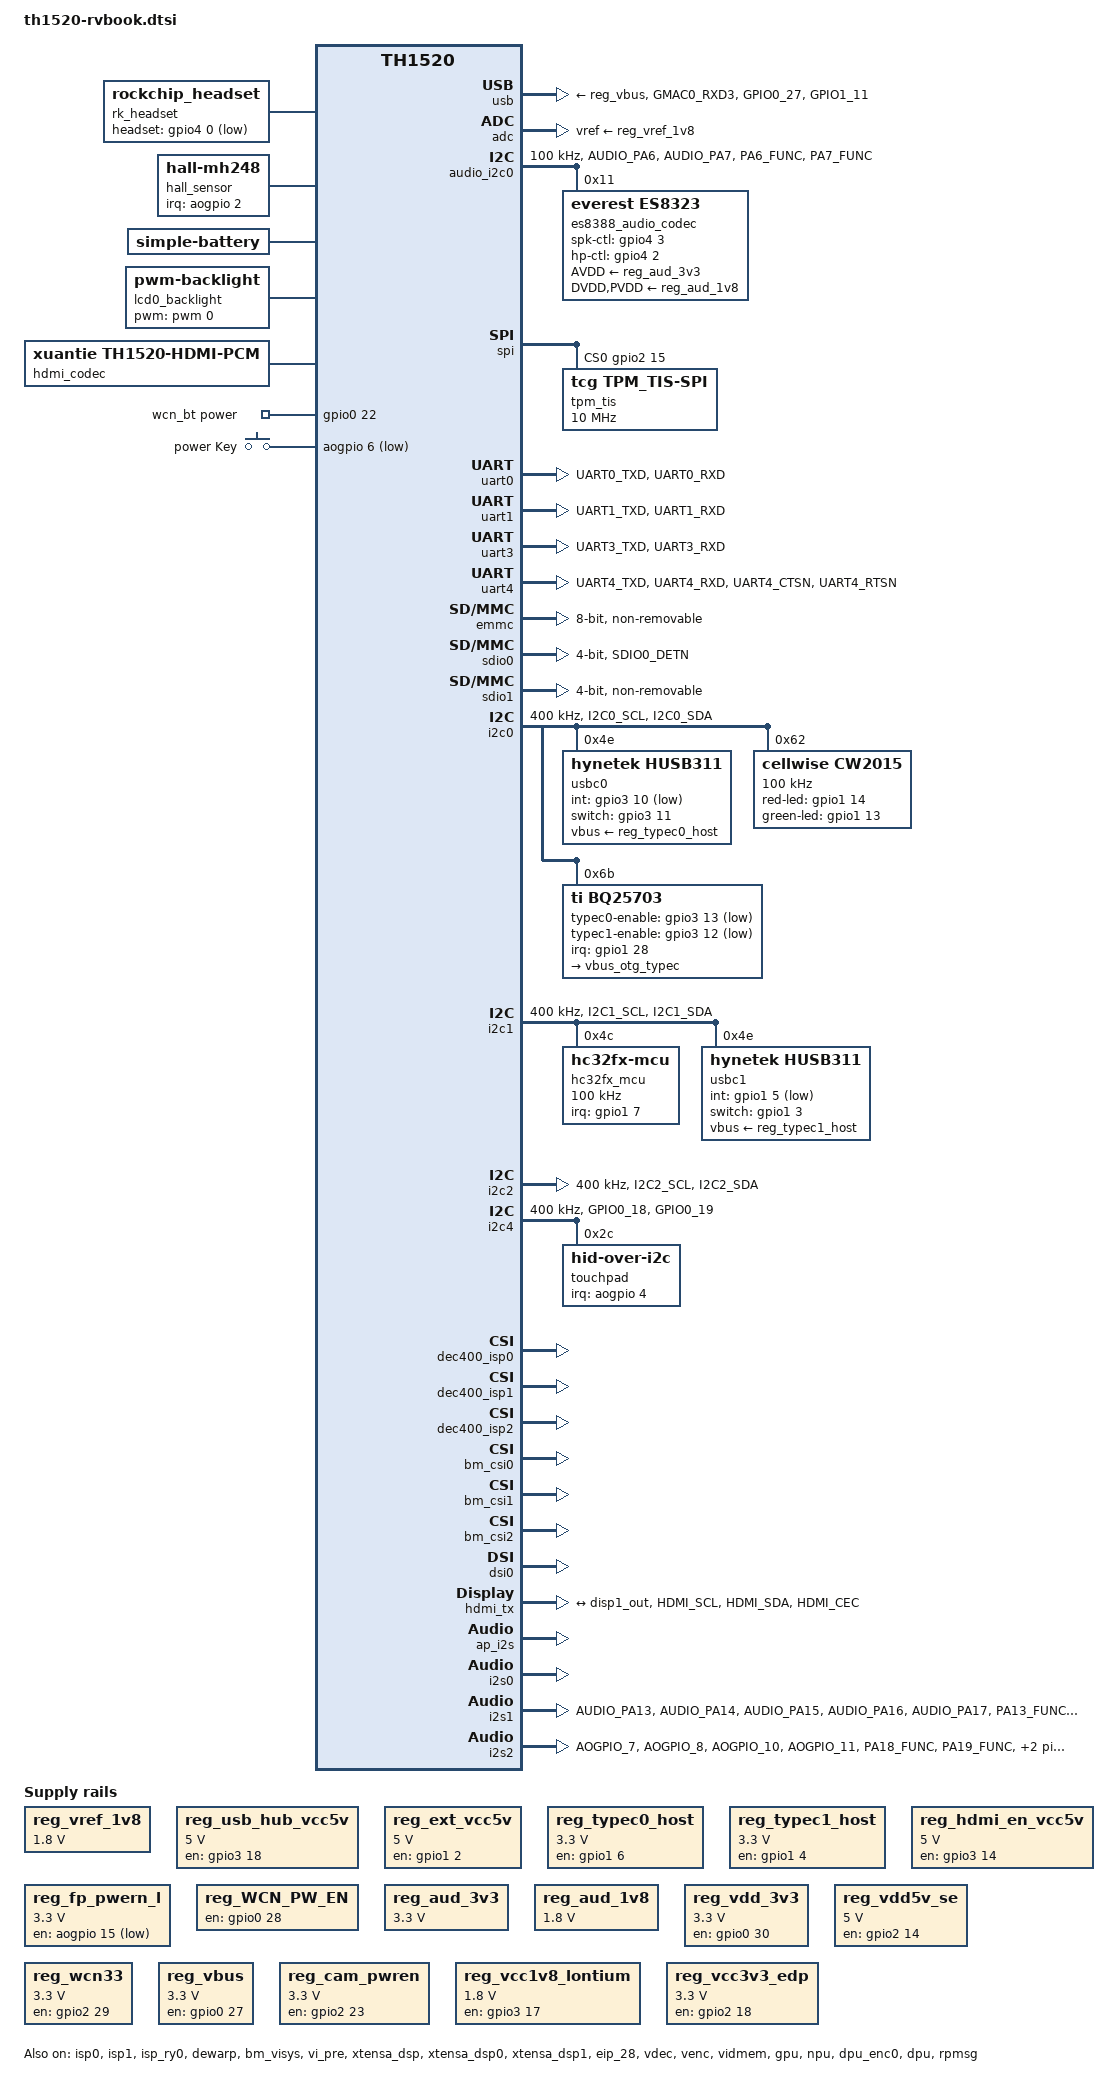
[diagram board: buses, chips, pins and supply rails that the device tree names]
/* SPDX-License-Identifier: GPL-2.0 */
/*
 * Copyright (C) 2021 Alibaba Group Holding Limited.
 */

/dts-v1/;

#include "th1520.dtsi"
#include <dt-bindings/input/linux-event-codes.h>
#include <dt-bindings/gpio/gpio.h>
#include <dt-bindings/usb/pd.h>
#include <dt-bindings/interrupt-controller/irq.h>
/ {
	chosen {
		bootargs = "console=ttyS0,115200 crashkernel=256M-:128M earlycon clk_ignore_unused sram=0xffe0000000,0x180000";
		stdout-path = "serial0:115200n8";
	};

	rk_headset: rk-headset {
		status = "okay";
		compatible = "rockchip_headset";
		headset_gpio = <&gpio4 0 GPIO_ACTIVE_LOW>;
		pinctrl-names = "default";
		pinctrl-0 = <&headset_det_pins>;
		// io-channels = <&adc 1>;
	};

	hall_sensor: hall-mh248 {
		compatible = "hall-mh248";
		pinctrl-names = "default";
		pinctrl-0 = <&mh248_int_pins>;
		irq-gpio = <&aogpio 2 IRQ_TYPE_EDGE_BOTH>;
		hall-active = <1>;
		status = "okay";
	};

	battery: battery {
		compatible = "simple-battery";
		charge-full-design-microamp-hours = <4500000>;
	};

	usb_en: usb-en{
		compatible = "usb_en";
		host-en-gpio = <&gpio0 27 GPIO_ACTIVE_HIGH>;
		hub-en-gpio = <&gpio3 18 GPIO_ACTIVE_HIGH>;
		usb_sw-gpio= <&gpio1 11 GPIO_ACTIVE_LOW>;
		pinctrl-names = "default";
		pinctrl-0 = <&usbhub_en_pins &usb_host_en_pins &usb_sw_pins>;
		status = "disabled";
	};	

	leds {
		compatible = "gpio-leds";
		status = "disabled";
		led0 {
			label = "SYS_STATUS";
			gpios = <&gpio1 15 0>;	/* GPIO_ACTIVE_HIGH: 0 */
			default-state = "off";
		};
	};

	display-subsystem {
		status = "okay";
	};

	lcd0_backlight: pwm-backlight@0 {
		compatible = "pwm-backlight";
		pwms = <&pwm 0 5000000>;
		brightness-levels = <0 4 8 16 32 64 128 255>;
		default-brightness-level = <7>;
	};

	mbox_910t_client1: mbox_910t_client1 {
		compatible = "thead,light-mbox-client";
		mbox-names = "902";
		mboxes = <&mbox_910t 1 0>;
		status = "disabled";
	};


	mbox_910t_client2: mbox_910t_client2 {
		compatible = "thead,light-mbox-client";
		mbox-names = "906";
		mboxes = <&mbox_910t 2 0>;
		audio-mbox-regmap = <&audio_mbox>;
		status = "okay";
	};

	hdmi_codec: hdmi_codec@1 {
		#sound-dai-cells = <0>;
		compatible = "xuantie,th1520-hdmi-pcm";
		status = "okay";
		sound-name-prefix = "DUMMY";
	};

	th1520_sound: soundcard@1 {
		compatible = "simple-audio-card";
		simple-audio-card,name = "TH1520-Sound-Card";
		#address-cells = <1>;
		#size-cells = <0>;
	};

	th1520_rpmsg: th1520_rpmsg {
		compatible = "th1520,rpmsg-bus", "simple-bus";
		memory-region = <&rpmsgmem>;
		#address-cells = <2>;
		#size-cells = <2>;
		ranges;
		rpmsg: rpmsg{
			vdev-nums = <1>;
            reg = <0x0 0x1E000000 0 0x10000>;
			compatible = "th1520,th1520-rpmsg";
			log-memory-region = <&audio_log_mem>;
			status = "okay";
		};
	};

	fan: pwm-fan {
		compatible = "pwm-fan";
		#cooling-cells = <2>;
		pwms = <&pwm 1 10000000 0>;
		cooling-levels = <0 64 192 255>;
		status = "disabled";
	};

	reg_vref_1v8: regulator-adc-verf {
		compatible = "regulator-fixed";
		regulator-name = "vref-1v8";
		regulator-min-microvolt = <1800000>;
		regulator-max-microvolt = <1800000>;
		status = "okay";
	};

	reg_usb_hub_vcc5v: regulator-hub-vcc5v-en {
		compatible = "regulator-fixed";
		regulator-name = "regulator-hub-vcc5v-en";
		regulator-min-microvolt = <5000000>;
		regulator-max-microvolt = <5000000>;
		gpio = <&gpio3 18 GPIO_ACTIVE_HIGH>;
		enable-active-high;
		regulator-always-on;
	};

	reg_ext_vcc5v: regulator-ext5v-en {
		compatible = "regulator-fixed";
		regulator-name = "ext5v-en";
		regulator-min-microvolt = <5000000>;
		regulator-max-microvolt = <5000000>;
		gpio = <&gpio1 2 GPIO_ACTIVE_HIGH>;
		pinctrl-names = "default";
		pinctrl-0 = <&ext_vcc5v_en_pins>;
		enable-active-high;
		regulator-boot-on;
		regulator-always-on;
	};

	reg_typec0_host: regulator-typec0-host {
		compatible = "regulator-fixed";
		regulator-name = "typec0-host";
		regulator-min-microvolt = <3300000>;
		regulator-max-microvolt = <3300000>;
		gpio = <&gpio1 6 GPIO_ACTIVE_HIGH>;
		pinctrl-names = "default";
		pinctrl-0 = <&typec0_host_en_pins>;
		enable-active-high;
	};

	reg_typec1_host: regulator-typec1-host {
		compatible = "regulator-fixed";
		regulator-name = "typec1-host";
		regulator-min-microvolt = <3300000>;
		regulator-max-microvolt = <3300000>;
		gpio = <&gpio1 4 GPIO_ACTIVE_HIGH>;
		pinctrl-names = "default";
		pinctrl-0 = <&typec1_host_en_pins>;
		enable-active-high;
	};

	reg_hdmi_en_vcc5v: regulator-hdmi-en-en {
		compatible = "regulator-fixed";
		regulator-name = "hdmi-en5v-en";
		regulator-min-microvolt = <5000000>;
		regulator-max-microvolt = <5000000>;
		gpio = <&gpio3 14 GPIO_ACTIVE_HIGH>;
		pinctrl-names = "default";
		pinctrl-0 = <&hdmi_en_pins>;
		enable-active-high;
		regulator-boot-on;
		regulator-always-on;
	};

	reg_fp_pwern_l: regulator-fp-pwern-l {
		compatible = "regulator-fixed";
		regulator-name = "fp-pwern-l";
		regulator-min-microvolt = <3300000>;
		regulator-max-microvolt = <3300000>;
		gpio = <&aogpio 15 GPIO_ACTIVE_LOW>;
		pinctrl-names = "default";
		pinctrl-0 = <&fp_int_pins>;
		// enable-active-high;
		regulator-always-on;
	};

	reg_WCN_PW_EN: regulator-WCN-PW-EN {
		compatible = "regulator-fixed";
		regulator-name = "wcn-pw-en";
		gpio = <&gpio0 28 GPIO_ACTIVE_HIGH>;
		pinctrl-names = "default";
		pinctrl-0 = <&wifi_wake_pins>;
		enable-active-high;
		regulator-always-on;
		regulator-boot-on;
	};

	wcn_wifi: wireless-wlan {
		compatible = "wlan-platdata";
		clock-names = "clk_wifi";
		ref-clock-frequency = <24000000>;
		keep_wifi_power_on;
		// pinctrl-names = "default";
		// pinctrl-0 = <&pinctrl_wifi_wake>;
		wifi_chip_type = "rtl8822cs";
		// WIFI,poweren_gpio = <&gpio0 28 GPIO_ACTIVE_HIGH>;
		status = "okay";
	};

	wcn_bt: wireless-bluetooth {
		compatible = "bluetooth-platdata";
		pinctrl-names = "default", "rts_gpio";
		BT,power_gpio    = <&gpio0 22 GPIO_ACTIVE_HIGH>;
		status = "okay";
	};

	gpio-keys {
		compatible = "gpio-keys";
		pinctrl-names = "default";
		pinctrl-0 = <&volume_pins &powerkey_pins>;
		key-pw{
			label = "power Key";
			wakeup-source;
			linux,code = <KEY_POWER>;
			debounce-interval = <1>;
			gpios = <&aogpio 6 0x1>;
		};
	};

	reg_aud_3v3: regulator-aud-3v3 {
		compatible = "regulator-fixed";
		regulator-name = "aud_3v3";
		regulator-min-microvolt = <3300000>;
		regulator-max-microvolt = <3300000>;
		enable-active-high;
		regulator-always-on;
	};

	reg_aud_1v8: regulator-aud-1v8 {
		compatible = "regulator-fixed";
		regulator-name = "aud_1v8";
		regulator-min-microvolt = <1800000>;
		regulator-max-microvolt = <1800000>;
		enable-active-high;
		regulator-always-on;
	};

	reg_vdd_3v3: regulator-vdd-3v3 {
		compatible = "regulator-fixed";
		regulator-name = "vdd_3v3";
		regulator-min-microvolt = <3300000>;
		regulator-max-microvolt = <3300000>;
		gpio = <&gpio0 30 1>;
		enable-active-high;
		regulator-always-on;
	};

	reg_vdd5v_se: regulator-vdd5v-se {
		compatible = "regulator-fixed";
		regulator-name = "vdd5v_se_en";
		regulator-min-microvolt = <5000000>;
		regulator-max-microvolt = <5000000>;
		gpio = <&gpio2 14 1>;
		enable-active-high;
		regulator-always-on;
	};

	reg_wcn33: regulator-wcn33 {
		compatible = "regulator-fixed";
		regulator-name = "wcn33_en";
		regulator-min-microvolt = <3300000>;
		regulator-max-microvolt = <3300000>;
		gpio = <&gpio2 29 1>;
		enable-active-high;
		regulator-always-on;
	};

	reg_vbus: regulator-vbus-en {
		compatible = "regulator-fixed";
		regulator-name = "vbus_en";
		regulator-min-microvolt = <3300000>;
		regulator-max-microvolt = <3300000>;
		gpio = <&gpio0 27 GPIO_ACTIVE_HIGH>;
		enable-active-high;
		regulator-always-on;
	};

	reg_cam_pwren: regulator-cam-pwren {
		compatible = "regulator-fixed";
		regulator-name = "cam_pwren";
		regulator-boot-on;
		enable-active-high;
		regulator-always-on;
		regulator-min-microvolt = <3300000>;
		regulator-max-microvolt = <3300000>;
		gpio = <&gpio2 23 GPIO_ACTIVE_HIGH>;
		pinctrl-names = "default";
		pinctrl-0 = <&camera_pwr_pins>;
	};

	reg_vcc1v8_lontium: regulator-vcc1v8-lontium {
		compatible = "regulator-fixed";
		enable-active-high;
		regulator-min-microvolt = <1800000>;
		regulator-max-microvolt = <1800000>;
		gpio = <&gpio3 17 GPIO_ACTIVE_HIGH>;
		pinctrl-names = "default";
		pinctrl-0 = <&lontium_pwren_pins>;
		regulator-name = "vcc1v8-lontium";
	};

	reg_vcc3v3_edp: regulator-vcc3v3-edp {
		compatible = "regulator-fixed";
		enable-active-high;
		regulator-min-microvolt = <3300000>;
		regulator-max-microvolt = <3300000>;
		gpio = <&gpio2 18 GPIO_ACTIVE_HIGH>;
		pinctrl-names = "default";
		pinctrl-0 = <&edp_pwren_pins>;
		regulator-name = "vcc3v3-edp";
	};

	thermal-zones {
		cpu-thermal {
			polling-delay = <1000>;
			polling-delay-passive = <1000>;
			thermal-sensors = <&pvt 0>;

			trips {
				trip_active0: active-0 {
					temperature = <39000>;
					hysteresis = <5000>;
					type = "active";
				};

				trip_active1: active-1 {
					temperature = <50000>;
					hysteresis = <5000>;
					type = "active";
				};

				trip_active2: active-2 {
					temperature = <60000>;
					hysteresis = <5000>;
					type = "active";
				};
			};

			cooling-maps {
				map-active-0 {
					cooling-device = <&fan 1 1>;
					trip = <&trip_active0>;
				};

				map-active-1 {
					cooling-device = <&fan 2 2>;
					trip = <&trip_active1>;
				};

				map-active-2 {
					cooling-device = <&fan 3 3>;
					trip = <&trip_active2>;
				};
			};
		};
	};

};

&usb {
	status = "okay";
};

&resmem {
	#address-cells = <2>;
	#size-cells = <2>;
	ranges;
	//Note: with "no-map" reserv mem not saved in hibernation

	/* global autoconfigured region for contiguous allocations */
	cmamem: linux,cma {
		compatible = "shared-dma-pool";
		reusable;
		size = <0 0x20000000>; // 512MB on lpi4a (SOM)
		alloc-ranges = <0 0xd8000000 0 0x20000000>; // [0x0D800_0000 ~ 0x0F800_0000]            linux,cma-default;
		linux,cma-default;
	};

	tee_mem: memory@1c000000 {
		reg = <0x0 0x1c000000 0 0x2000000>;
		no-map;
	};

	dsp0_mem: memory@20000000 {             /**0x2000_0000~0x2040_0000 4M**/
		reg = <0x0 0x20000000 0x0 0x00280000   /* DSP FW code&data section 2.5M*/ 
               0x0 0x20280000 0x0 0x00001000   /* DSP communication area 4K*/ 
               0x0 0x20281000 0x0 0x00007000  /* Panic/log page 28K */
               0x0 0x20288000 0x0 0x00178000>;  /* DSP shared memory 1.5M-32K*/
	};
    dsp1_mem: memory@20400000 {             /**0x2040_0000~0x2080_0000 4M**/
        reg = <0x0 0x20400000 0x0 0x00280000  /* DSP FW code&data section */ 
               0x0 0x20680000 0x0 0x00001000 /* DSP communication area */
               0x0 0x20681000 0x0 0x00007000    /* Panic/log page*/ 
               0x0 0x20688000 0x0 0x00178000>;  /* DSP shared memory */
    };
	vi_mem: framebuffer@10000000 {
		reg = <0x0 0x10000000 0x0 0x6700000>;	/* vi_mem_pool_region[0]  44 MB (default) */
		       //0x0 0x12C00000 0x0 0x01D00000	/* vi_mem_pool_region[1]  29 MB */
		       //0x0 0x14900000 0x0 0x01E00000>;	/* vi_mem_pool_region[2]  30 MB */
		no-map;
	};
	rpmsgmem: memory@1E000000 {
		reg = <0x0 0x1E000000 0x0 0x10000>;
	};
	audio_mem: memory@32000000 {
		reg = <0x0 0x32000000 0x0 0x6400000>;
    };
	audio_log_mem: memory@33400000 {
		reg = <0x0 0x33400000 0x0 0x200000>;
	};
	aon_log_mem: memory@33600000 {
		reg = <0x0 0x33600000 0x0 0x200000>;
	};
};

&aon {
	dvdd_cpu_reg: appcpu_dvdd {
		compatible = "thead,th1520-aon-pmic";
		regulator-name = "appcpu_dvdd";
		regulator-min-microvolt = <300000>;
		regulator-max-microvolt = <1570000>;
		regulator-type = "dvdd";
		regulator-boot-on;
		regulator-always-on;
	};

	dvddm_cpu_reg: appcpu_dvddm {
		compatible = "thead,th1520-aon-pmic";
		regulator-name = "appcpu_dvddm";
		regulator-min-microvolt = <300000>;
		regulator-max-microvolt = <1570000>;
		regulator-type = "dvddm";
		regulator-boot-on;
		regulator-always-on;
	};

	soc_dvdd18_aon_reg: soc_dvdd18_aon {
		compatible = "thead,th1520-aon-pmic";
		regulator-name = "soc_dvdd18_aon";
		regulator-type = "common";
		regulator-boot-on;
		regulator-always-on;
	};

	soc_avdd33_usb3_reg: soc_avdd33_usb3 {
		compatible = "thead,th1520-aon-pmic";
		regulator-name = "soc_avdd33_usb3";
		regulator-type = "common";
		regulator-boot-on;
		regulator-always-on;
	};

	soc_dvdd08_aon_reg: soc_dvdd08_aon {
		compatible = "thead,th1520-aon-pmic";
		regulator-name = "soc_dvdd08_aon";
		regulator-type = "common";
		regulator-boot-on;
		regulator-always-on;
	};

	soc_dvdd08_ddr_reg: soc_dvdd08_ddr {
		compatible = "thead,th1520-aon-pmic";
		regulator-name = "soc_dvdd08_ddr";
		regulator-type = "common";
		regulator-boot-on;
		regulator-always-on;
	};

	soc_vdd_ddr_1v8_reg: soc_vdd_ddr_1v8 {
		compatible = "thead,th1520-aon-pmic";
		regulator-name = "soc_vdd_ddr_1v8";
		regulator-type = "common";
		regulator-boot-on;
		regulator-always-on;
	};

	soc_vdd_ddr_1v1_reg: soc_vdd_ddr_1v1 {
		compatible = "thead,th1520-aon-pmic";
		regulator-name = "soc_vdd_ddr_1v1";
		regulator-type = "common";
		regulator-boot-on;
		regulator-always-on;
	};

	soc_vdd_ddr_0v6_reg: soc_vdd_ddr_0v6 {
		compatible = "thead,th1520-aon-pmic";
		regulator-name = "soc_vdd_ddr_0v6";
		regulator-type = "common";
		regulator-boot-on;
		regulator-always-on;
	};

	soc_dvdd18_ap_reg: soc_dvdd18_ap {
		compatible = "thead,th1520-aon-pmic";
		regulator-name = "soc_dvdd18_ap";
		regulator-type = "common";
		regulator-boot-on;
		regulator-always-on;
	};

	soc_dvdd08_ap_reg: soc_dvdd08_ap {
		compatible = "thead,th1520-aon-pmic";
		regulator-name = "soc_dvdd08_ap";
		regulator-type = "common";
		regulator-boot-on;
		regulator-always-on;
	};

	soc_avdd08_mipi_hdmi_reg: soc_avdd08_mipi_hdmi {
		compatible = "thead,th1520-aon-pmic";
		regulator-name = "soc_avdd08_mipi_hdmi";
		regulator-type = "common";
		regulator-boot-on;
		regulator-always-on;
	};

	soc_avdd18_mipi_hdmi_reg: soc_avdd18_mipi_hdmi {
		compatible = "thead,th1520-aon-pmic";
		regulator-name = "soc_avdd18_mipi_hdmi";
		regulator-type = "common";
		regulator-boot-on;
		regulator-always-on;
	};

	soc_vdd33_emmc_reg: soc_vdd33_emmc {
		compatible = "thead,th1520-aon-pmic";
		regulator-name = "soc_vdd33_emmc";
		regulator-type = "common";
		regulator-boot-on;
		regulator-always-on;
	};

	soc_vdd18_emmc_reg: soc_vdd18_emmc {
		compatible = "thead,th1520-aon-pmic";
		regulator-name = "soc_vdd18_emmc";
		regulator-type = "gpio";
		regulator-boot-on;
		regulator-always-on;
	};

	soc_dovdd18_scan_reg: soc_dovdd18_scan {
		compatible = "thead,th1520-aon-pmic";
		regulator-name = "soc_dovdd18_scan";
		regulator-type = "common";
		regulator-min-microvolt = <900000>;
		regulator-max-microvolt = <3600000>;
	};

	soc_dvdd12_scan_reg: soc_dvdd12_scan {
		compatible = "thead,th1520-aon-pmic";
		regulator-name = "soc_dvdd12_scan";
		regulator-type = "common";
		regulator-min-microvolt = <900000>;
		regulator-max-microvolt = <3600000>;
	};

	soc_avdd28_scan_en_reg: soc_avdd28_scan_en {
		compatible = "thead,th1520-aon-pmic";
		regulator-name = "soc_avdd28_scan_en";
		regulator-type = "common";
		regulator-min-microvolt = <900000>;
		regulator-max-microvolt = <3600000>;
	};
};

&adc {
	vref-supply = <&reg_vref_1v8>;
    #io-channel-cells = <1>;
	status = "okay";
};

&audio_i2c0 {
	clock-frequency = <100000>;
	status = "okay";
	pinctrl-names = "default";
	pinctrl-0 = <&aud_i2c0_pa_pins>,
				<&aud_i2c0_pins>;

	es8388_audio_codec: es8388@11 {
		#sound-dai-cells = <0>;
		compatible = "everest,es8323";
		reg = <0x11>;
		sound-name-prefix = "ES8388";
                headset-detect = <&rk_headset>;
		AVDD-supply = <&reg_aud_3v3>;
		DVDD-supply = <&reg_aud_1v8>;
		PVDD-supply = <&reg_aud_1v8>;
		spk-ctl-gpios = <&gpio4 3 GPIO_ACTIVE_HIGH>;
		hp-ctl-gpios = <&gpio4 2 GPIO_ACTIVE_HIGH>;
		pinctrl-names = "default";
		pinctrl-0 = <&pa_en_pins &hp_ctl_pins>;
	};
};

&spi {
	num-cs = <1>;
	cs-gpios = <&gpio2 15 0>; // GPIO_ACTIVE_HIGH: 0
	rx-sample-delay-ns = <10>;

	spi_norflash@0 {
		status = "disable";
		#address-cells = <1>;
		#size-cells = <1>;
		compatible = "winbond,w25q64jwm", "jedec,spi-nor";
		reg = <0>;
		spi-max-frequency = <50000000>;
		w25q,fast-read;
	};

	tpm_tis@0 {
		status = "okay";
		compatible = "tcg,tpm_tis-spi";
		reg = <0>;
		spi-max-frequency = <10000000>;
	};

	spidev@1 {
		status = "disable";
		compatible = "spidev";
		#address-cells = <0x1>;
		#size-cells = <0x1>;
		reg = <0x1>;
		spi-max-frequency = <50000000>;
	};
};

&uart0 {
	clock-frequency = <100000000>;
	pinctrl-names = "default";
	pinctrl-0 = <&uart0_pins>;
};

&uart1 {
	pinctrl-names = "default";
	pinctrl-0 = <&uart1_pins>;
};

&uart3 {
	pinctrl-names = "default";
	pinctrl-0 = <&uart3_pins>;
};

&uart4 {
	pinctrl-names = "default";
	pinctrl-0 = <&uart4_pins>;
};

&qspi0 {
	num-cs = <1>;
	cs-gpios = <&gpio2 3 0>;
	rx-sample-dly = <4>;
	status = "disabled";

	spi-flash@0 {
		#address-cells = <1>;
		#size-cells = <1>;
		compatible = "spi-nand";
		spi-max-frequency = <100000000>;
		spi-tx-bus-width = <4>;
		spi-rx-bus-width = <4>;
		reg = <0>;

		partition@0 {
			label = "ubi1";
			reg = <0x00000000 0x08000000>;
		};
	};
};

&gmac0 {
	phy-mode = "rgmii-id";
	rx-clk-delay = <0x00>; /* for RGMII */
	tx-clk-delay = <0x00>; /* for RGMII */
	phy-handle = <&phy_88E1111_0>;
	status = "disabled";

	mdio0 {
		#address-cells = <1>;
		#size-cells = <0>;
		compatible = "snps,dwmac-mdio";

		phy_88E1111_0: ethernet-phy@0 {
			reg = <0x1>;
		};

		phy_88E1111_1: ethernet-phy@1 {
			reg = <0x2>;
		};
	};
};

&gmac1 {
	phy-mode = "rgmii-id";
	rx-clk-delay = <0x00>; /* for RGMII */
	tx-clk-delay = <0x00>; /* for RGMII */
	phy-handle = <&phy_88E1111_1>;
	status = "disabled";
};

&emmc {
	max-frequency = <198000000>;
	non-removable;
	mmc-hs400-1_8v;
	io_fixed_1v8;
	is_emmc;
	no-sdio;
	no-sd;
	pull_up;
	bus-width = <8>;
	status = "okay";
};

&sdio0 {
	max-frequency = <198000000>;
	bus-width = <4>;
	pull_up;
	wprtn_ignore;
	status = "okay";
	pinctrl-names = "default";
	pinctrl-0 = <&sdio0_pins>;
};

&sdio1 {
	max-frequency = <198000000>;
	bus-width = <4>;
	pull_up;
	no-sd;
	no-mmc;
	non-removable;
	io_fixed_1v8;
	post-power-on-delay-ms = <50>;
	wprtn_ignore;
	sd-uhs-sdr104;
	cap-sd-highspeed;
	wakeup-source;
	status = "okay";
};

&padctrl0_apsys {
	camera_pwr_pins: camera-pwr-0 {
		camera-pwr-pins {
			pins = "GPIO2_23";
			function = "gpio";
			bias-pull-up;
			drive-strength = <25>;
			input-enable;
			input-schmitt-disable;
			slew-rate = <0>;
		};
	};

	switch0_pins: switch0-0 {
		gpio-pins {
			pins = "GMAC0_TXD1";
			function = "gpio";
			bias-disabled;
			drive-strength = <13>;
			input-enable;
			input-schmitt-disable;
			slew-rate = <0>;
		};
	};

	fingerprint_int_pins: fingerprint-int-0 {
		fingerprint-pins {
			pins = "GMAC0_CRS";
			function = "gpio";
			bias-disabled;
			drive-strength = <16>;
			input-enable;
			input-schmitt-disable;
			slew-rate = <0>;
		};
	};

	i2c2_pins: i2c2-0 {
		i2c-pins {
			pins = "I2C2_SCL", "I2C2_SDA";
			function = "i2c";
			bias-disable;
			drive-strength = <7>;
			input-enable;
			input-schmitt-disable;
			slew-rate = <0>;
		};
	};

	i2c3_pins: i2c3-0 {
		i2c-pins {
			pins = "I2C3_SCL", "I2C3_SDA";
			function = "i2c";
			bias-disable;
			drive-strength = <7>;
			input-enable;
			input-schmitt-disable;
			slew-rate = <0>;
		};
	};

	usbc0_int_pins: usbc0-int-0 {
		usb-pins {
			pins = "GMAC0_TXD0";
			function = "gpio";
			bias-pull-up;
			drive-strength = <25>;
			input-enable;
			input-schmitt-disable;
			slew-rate = <0>;
		};
	};

	uart0_pins: uart0-0 {
		tx-pins {
			pins = "UART0_TXD";
			function = "uart";
			bias-disable;
			drive-strength = <3>;
			input-enable;
			input-schmitt-disable;
			slew-rate = <0>;
		};

		rx-pins {
			pins = "UART0_RXD";
			function = "uart";
			bias-disable;
			drive-strength = <3>;
			input-enable;
			input-schmitt-disable;
			slew-rate = <0>;
		};
	};

	spi0_pins: spi0-0 {
		clk-pins {
			pins = "SPI_SCLK";
			function = "spi";
			bias-disable;
			drive-strength = <16>;
			input-enable;
			input-schmitt-enable;
			slew-rate = <0>;
		};
		data-pins {
			pins = "SPI_MOSI", "SPI_MISO";
			function = "spi";
			bias-pull-up;
			drive-strength = <16>;
			input-enable;
			input-schmitt-enable;
			slew-rate = <0>;
		};
	};

	qspi0_pins: qspi0-0 {
		clk-pins {
			pins = "QSPI0_SCLK";
			function = "qspi";
			bias-disable;
			drive-strength = <25>;
			input-enable;
			input-schmitt-disable;
			slew-rate = <0>;
		};
		data-pins {
			pins = "QSPI0_D0_MOSI", "QSPI0_D1_MISO", "QSPI0_D2_WP", "QSPI0_D3_HOLD";
			function = "qspi";
			bias-pull-up;
			drive-strength = <25>;
			input-enable;
			input-schmitt-enable;
			slew-rate = <0>;
		};
	};

	usbhub_en_pins: usbhub-en-0 {
		usb-pins {
			pins = "GMAC0_RXD3";
			function = "gpio";
			bias-disable;
			drive-strength = <13>;
			input-enable;
			input-schmitt-disable;
			slew-rate = <0>;
		};
	};

	hdmi_en_pins: hdmi-en-0 {
		hdmi-pins {
			pins = "GMAC0_RXDV";
			function = "gpio";
			bias-disable;
			drive-strength = <13>;
			input-enable;
			input-schmitt-disable;
			slew-rate = <0>;
		};
	};

	typec0_en_pins: typec0-en-0 {
		usb-pins {
			pins = "GMAC0_TXD3";
			function = "gpio";
			bias-disable;
			drive-strength = <13>;
			input-enable;
			input-schmitt-disable;
			slew-rate = <0>;
		};
	};

	typec1_en_pins: typec1-en-0 {
		usb-pins {
			pins = "GMAC0_TXD2";
			function = "gpio";
			bias-disable;
			drive-strength = <13>;
			input-enable;
			input-schmitt-disable;
			slew-rate = <0>;
		};
	};

	sdio0_pins: sdio0-0 {
		sdio-pins {
			pins = "SDIO0_DETN";
			function = "sdio";
			bias-disable;
			drive-strength = <1>;
			input-enable;
			input-schmitt-disable;
			slew-rate = <0>;
		};
	};

	hdmi_pins: hdmi-0 {
		hdmi-pins {
			pins = "HDMI_SCL", "HDMI_SDA", "HDMI_CEC";
			function = "hdmi";
			bias-disable;
			drive-strength = <1>;
			input-enable;
			input-schmitt-disable;
			slew-rate = <0>;
		};
	};

	lt8911exb_pins: lt8911exb-0 {
		gpio-pins {
			pins = "GPIO2_2", "GMAC0_RXD1", "GMAC0_RXD0";
			function = "gpio";
			bias-disable;
			drive-strength = <13>;
			input-enable;
			input-schmitt-disable;
			slew-rate = <0>;
		};
	};

	lontium_pwren_pins: lontium-pwren-0 {
		gpio-pins {
			pins = "GMAC0_RXD2";
			function = "gpio";
			bias-disable;
			drive-strength = <13>;
			input-enable;
			input-schmitt-disable;
			slew-rate = <0>;
		};
	};

	edp_pwren_pins: edp-pwren-0 {
		gpio-pins {
			pins = "GPIO2_18";
			function = "gpio";
			bias-disable;
			drive-strength = <13>;
			input-enable;
			input-schmitt-disable;
			slew-rate = <0>;
		};
	};

	dsi_reset_pins: dsi-reset-0 {
		gpio-pins {
			pins = "GPIO2_22";
			function = "gpio";
			bias-disable;
			drive-strength = <1>;
			input-disable;
			input-schmitt-disable;
			slew-rate = <0>;
		};
	};
};

&padctrl1_apsys {
	i2c0_pins: i2c0-0 {
		i2c-pins {
			pins = "I2C0_SCL", "I2C0_SDA";
			function = "i2c";
			bias-disable;
			drive-strength = <7>;
			input-enable;
			input-schmitt-enable;
			slew-rate = <0>;
		};
	};

	i2c1_pins: i2c1-0 {
		i2c-pins {
			pins = "I2C1_SCL", "I2C1_SDA";
			function = "i2c";
			bias-disable;
			drive-strength = <7>;
			input-enable;
			input-schmitt-enable;
			slew-rate = <0>;
		};
	};

	i2c4_pins: i2c4-0 {
		i2c-pins {
			pins = "GPIO0_18", "GPIO0_19";
			function = "i2c";
			bias-disable;
			drive-strength = <7>;
			input-enable;
			input-schmitt-enable;
			slew-rate = <0>;
		};
	};

	usbc1_int_pins: usbc1-int-0 {
		usb-pins {
			pins = "GPIO1_5";
			function = "gpio";
			bias-pull-up;
			drive-strength = <25>;
			input-enable;
			input-schmitt-enable;
			slew-rate = <0>;
		};
	};

	switch1_pins: switch1-0 {
		gpio-pins {
			pins = "GPIO1_3";
			function = "gpio";
			bias-disabled;
			drive-strength = <13>;
			input-enable;
			input-schmitt-disable;
			slew-rate = <0>;
		};
	};

	hc32fx_int_pins: hc32fx-int-0 {
		gpio-pins {
			pins = "GPIO1_7";
			function = "gpio";
			bias-pull-up;
			drive-strength = <25>;
			input-enable;
			input-schmitt-enable;
			slew-rate = <0>;
		};
	};

	redled_pins: redled-0 {
		gpio-pins {
			pins = "GPIO1_14";
			function = "gpio";
			bias-disabled;
			drive-strength = <13>;
			input-enable;
			input-schmitt-disable;
			slew-rate = <0>;
		};
	};

	greenled_pins: greenled-0 {
		gpio-pins {
			pins = "GPIO1_13";
			function = "gpio";
			bias-disabled;
			drive-strength = <13>;
			input-enable;
			input-schmitt-disable;
			slew-rate = <0>;
		};
	};

	charger_ok_pins: charger-ok-0 {
		gpio-pins {
			pins = "GPIO1_28";
			function = "gpio";
			bias-disabled;
			drive-strength = <13>;
			input-enable;
			input-schmitt-disable;
			slew-rate = <0>;
		};
	};

	uart1_pins: uart1-0 {
		tx-pins {
			pins = "UART1_TXD";
			function = "uart";
			bias-disable;
			drive-strength = <3>;
			input-disable;
			input-schmitt-disable;
			slew-rate = <0>;
		};

		rx-pins {
			pins = "UART1_RXD";
			function = "uart";
			bias-disable;
			drive-strength = <1>;
			input-enable;
			input-schmitt-enable;
			slew-rate = <0>;
		};
	};

	uart3_pins: uart3-0 {
		tx-pins {
			pins = "UART3_TXD";
			function = "uart";
			bias-disable;
			drive-strength = <3>;
			input-disable;
			input-schmitt-disable;
			slew-rate = <0>;
		};

		rx-pins {
			pins = "UART3_RXD";
			function = "uart";
			bias-disable;
			drive-strength = <1>;
			input-enable;
			input-schmitt-enable;
			slew-rate = <0>;
		};
	};

	uart4_pins: uart4-0 {
		tx-pins {
			pins = "UART4_TXD";
			function = "uart";
			bias-disable;
			drive-strength = <3>;
			input-disable;
			input-schmitt-disable;
			slew-rate = <0>;
		};

		rx-pins {
			pins = "UART4_RXD";
			function = "uart";
			bias-disable;
			drive-strength = <1>;
			input-enable;
			input-schmitt-enable;
			slew-rate = <0>;
		};
		ctrl-pins {
			pins = "UART4_CTSN", "UART4_RTSN";
			function = "uart";
			bias-disable;
			drive-strength = <3>;
			input-enable;
			input-schmitt-disable;
			slew-rate = <0>;
		};
	};

	wifi_wake_pins: wifi-wake-0 {
		wifi-pins {
			pins = "GPIO0_28";
			function = "gpio";
			bias-disable;
			drive-strength = <7>;
			input-disable;
			input-schmitt-disable;
			slew-rate = <0>;
		};
	};

	bt_wake_pins: bt-wake-0 {
		bt-pins {
			pins = "GPIO0_28";
			function = "gpio";
			bias-disable;
			drive-strength = <7>;
			input-disable;
			input-schmitt-disable;
			slew-rate = <0>;
		};
	};

	qspi1_pins: qspi1-0 {
		clk-pins {
			pins = "QSPI1_SCLK";
			function = "qspi";
			bias-disable;
			drive-strength = <16>;
			input-enable;
			input-schmitt-disable;
			slew-rate = <0>;
		};
		data-pins {
			pins = "QSPI1_D0_MOSI", "QSPI1_D1_MISO";
			function = "qspi";
			bias-pull-up;
			drive-strength = <16>;
			input-enable;
			input-schmitt-disable;
			slew-rate = <0>;
		};
	};

	volume_pins: volume-0 {
		volume-pins {
			pins = "CLK_OUT_2";
			function = "gpio";
			bias-disable;
			drive-strength = <13>;
			input-enable;
			input-schmitt-disable;
			slew-rate = <0>;
		};
	};

	usb_sw_pins: usb-sw-0 {
		usb-pins {
			pins = "GPIO1_11";
			function = "gpio";
			bias-disable;
			drive-strength = <13>;
			input-enable;
			input-schmitt-disable;
			slew-rate = <0>;
		};
	};

	usb_host_en_pins: usb-host-en-0 {
		usb-pins {
			pins = "GPIO0_27";
			function = "gpio";
			bias-pull-up;
			drive-strength = <13>;
			input-enable;
			input-schmitt-disable;
			slew-rate = <0>;
		};
	};

	ext_vcc5v_en_pins: ext-vcc5v-en-0 {
		gpio-pins {
			pins = "GPIO1_2";
			function = "gpio";
			bias-disable;
			drive-strength = <13>;
			input-enable;
			input-schmitt-disable;
			slew-rate = <0>;
		};
	};

	typec0_host_en_pins: typec0-host-en-0 {
		usb-pins {
			pins = "GPIO1_6";
			function = "gpio";
			bias-disable;
			drive-strength = <13>;
			input-enable;
			input-schmitt-disable;
			slew-rate = <0>;
		};
	};

	typec1_host_en_pins: typec1-host-en-0 {
		usb-pins {
			pins = "GPIO1_4";
			function = "gpio";
			bias-disable;
			drive-strength = <13>;
			input-enable;
			input-schmitt-disable;
			slew-rate = <0>;
		};
	};
};

&padctrl_aosys {
	headset_det_pins: headset-det-0 {
		headset-pins {
			pins = "AUDIO_PA0";
			function = "gpio";
			bias-pull-up;
			drive-strength = <25>;
			input-enable;
			input-schmitt-disable;
			slew-rate = <0>;
		};
	};

	headset_int_pins: headset-int-0 {
		headset-pins {
			pins = "AUDIO_PA1";
			function = "gpio";
			bias-pull-up;
			drive-strength = <1>;
			input-disable;
			input-schmitt-disable;
			slew-rate = <0>;
		};
	};

	hp_ctl_pins: hp-ctl-0 {
		gpio-pins {
			pins = "AUDIO_PA2";
			function = "gpio";
			bias-disable;
			drive-strength = <16>;
			input-enable;
			input-schmitt-disable;
			slew-rate = <0>;
		};
	};

	pa_en_pins: pa-en-0 {
		gpio-pins {
			pins = "AUDIO_PA3";
			function = "gpio";
			bias-disable;
			drive-strength = <16>;
			input-enable;
			input-schmitt-disable;
			slew-rate = <0>;
		};
	};

	aud_i2c0_pa_pins: aud-i2c0-pa-0 {
		aud-i2c-pa-pins {
			pins = "AUDIO_PA6", "AUDIO_PA7";
			function = "audio";
			bias-disable;
			drive-strength = <0>;
			slew-rate = <0>;
		};
	};

	i2s1_pa_pins: i2s1-pa-0 {
		i2s-pa-pins {
			pins = "AUDIO_PA13", "AUDIO_PA14", "AUDIO_PA15", "AUDIO_PA16", "AUDIO_PA17";
			function = "audio";
			bias-disable;
			drive-strength = <0>;
			slew-rate = <0>;
		};
	};

	i2s2_pa_pins: i2s2-pa-0 {
		i2s-pa-pins {
			pins = "AOGPIO_7", "AOGPIO_8", "AOGPIO_10", "AOGPIO_11";
			function = "audio";
			bias-disable;
			drive-strength = <0>;
			slew-rate = <0>;
		};
	};

	touchpad_irq_pins: tp-irq-0 {
		gpio-pins {
			pins = "CPU_JTG_TDI";
			function = "gpio";
			bias-pull-up;
			drive-strength = <13>;
			input-enable;
			input-schmitt-disable;
			slew-rate = <0>;
		};
	};

	hidkey_irq_pins: hidkey-irq-0 {
		gpio-pins {
			pins = "CPU_JTG_TMS";
			function = "gpio";
			bias-pull-up;
			drive-strength = <13>;
			input-enable;
			input-schmitt-disable;
			slew-rate = <0>;
		};
	};

	fp_int_pins: fp-int-0 {
		gpio-pins {
			pins = "AOGPIO_15";
			function = "gpio";
			bias-disable;
			drive-strength = <1>;
			input-disable;
			input-schmitt-disable;
			slew-rate = <0>;
		};
	};

	mh248_int_pins: mh248-int-0 {
		gpio-pins {
			pins = "CPU_JTG_TCLK";
			function = "gpio";
			bias-pull-up;
			drive-strength = <13>;
			input-enable;
			input-schmitt-disable;
			slew-rate = <0>;
		};
	};

	powerkey_pins: powerkey-0 {
		gpio-pins {
			pins = "CPU_JTG_TRST";
			function = "gpio";
			bias-pull-up;
			drive-strength = <13>;
			input-enable;
			input-schmitt-disable;
			slew-rate = <0>;
		};
	};
};

&padctrl_audiosys {
	aud_i2c0_pins: aud-i2c0-0 {
		i2c-pins {
			pins = "PA6_FUNC", "PA7_FUNC";
			function = "aud_i2c0";
			bias-disable;
			drive-strength = <7>;
			input-schmitt-disable;
			slew-rate = <0>;
		};
	};
	i2s1_pins: i2s1-0 {
		i2s-pins {
			pins = "PA13_FUNC", "PA14_FUNC", "PA15_FUNC", "PA16_FUNC", "PA17_FUNC";
			function = "aud_i2s1";
			bias-disable;
			drive-strength = <13>;
			input-schmitt-disable;
			slew-rate = <0>;
		};
	};
	i2s2_pins: i2s2-0 {
		i2s-pins {
			pins = "PA18_FUNC", "PA19_FUNC", "PA21_FUNC", "PA22_FUNC";
			function = "aud_i2s2";
			bias-disable;
			drive-strength = <13>;
			input-schmitt-disable;
			slew-rate = <0>;
		};
	};
};

&i2c0 {
    clock-frequency = <400000>;
	status = "okay";
	pinctrl-names = "default";
	pinctrl-0 = <&i2c0_pins>;

	usbc0: husb311_0@4e {
		compatible = "hynetek,husb311";
		reg = <0x4e>;
		// interrupt-parent = <&gpio3>;
		// interrupts = <10 0>;
		int_gpio  = <&gpio3 10 GPIO_ACTIVE_LOW>;
                switch-gpios = <&gpio3 11 GPIO_ACTIVE_HIGH>;
		pinctrl-names = "default";
		pinctrl-0 = <&usbc0_int_pins &switch0_pins>;
                vbus-supply = <&reg_typec0_host>;
		status = "okay";

		usb_con0: connector {
			compatible = "usb-c-connector";
			label = "USB-C";
			data-role = "dual";
			power-role = "dual";
			try-power-role = "sink";
			source-pdos = <PDO_FIXED(5000, 2000, PDO_FIXED_USB_COMM)>;
			sink-pdos =
				<PDO_FIXED(5000, 3000, PDO_FIXED_USB_COMM)
				PDO_FIXED(9000, 3000, PDO_FIXED_USB_COMM)
				PDO_FIXED(12000, 3000, PDO_FIXED_USB_COMM)>;
			op-sink-microwatt = <10000000>;
		};
	};

	cw2015@62 {
		clock-frequency = <100000>;
		status = "okay";
		compatible = "cellwise,cw2015";
		reg = <0x62>;
		cellwise,battery-profile = /bits/ 8
			<0x17 0x67 0x66 0x65 0x64 0x63 0x61 0x5E
			 0x52 0x6D 0x4D 0x58 0x5B 0x51 0x44 0x3B
			 0x33 0x2C 0x26 0x23 0x24 0x29 0x34 0x42
			 0x49 0x16 0x0E 0xB8 0x3D 0x5D 0x68 0x7D
			 0x78 0x75 0x7B 0x7A 0x3F 0x18 0x82 0x48
			 0x09 0x4A 0x1A 0x47 0x86 0x93 0x97 0x15
			 0x49 0x71 0x9A 0xC3 0x80 0x41 0x4F 0xCB
			 0x2F 0x00 0x64 0xA5 0xB5 0x0D 0xB8 0x91>;
		cellwise,monitor-interval-ms = <3000>;
		cellwise,dual-cell = <1>;
		monitored-battery = <&battery>;
		power-supplies = <&bq25703>;
		red-led-gpios = <&gpio1 14 GPIO_ACTIVE_HIGH>;
		green-led-gpios = <&gpio1 13 GPIO_ACTIVE_HIGH>;
	};

	bq25703: bq25703@6b {
		status = "okay";
		compatible = "ti,bq25703";
		reg = <0x6b>;

		typec0-enable-gpios = <&gpio3 13 GPIO_ACTIVE_LOW>;  //CHG_PATH_SEL0_180
		typec1-enable-gpios = <&gpio3 12 GPIO_ACTIVE_LOW>;  //CHG_PATH_SEL1_180
		interrupt-parent = <&gpio1>;
		interrupts = <28 IRQ_TYPE_LEVEL_LOW>;

		pinctrl-names = "default";
		pinctrl-0 = <&typec0_en_pins &typec1_en_pins &redled_pins &greenled_pins &charger_ok_pins>;
		ti,usb-charger-detection = <&usbc0>;
		ti,usb-charger-detection1 = <&usbc1>;
		ti,charge-current = <2500000>;
		ti,max-input-voltage = <20000000>;
		ti,max-input-current = <6000000>;
		ti,max-charge-voltage = <8700000>;
		ti,input-current-sdp = <500000>;
		ti,input-current-dcp = <2000000>;
		ti,input-current-cdp = <2000000>;
		ti,minimum-sys-voltage = <6000000>;
		ti,otg-voltage = <5000000>;
		ti,otg-current = <1500000>;
		pd-charge-only = <0>;

		vbus_otg_typec: vbus-otg-typec {
			compatible = "regulator-fixed";
			regulator-name = "vbus_otg_typec";
		};
	};
};

&i2c1 {
    clock-frequency = <400000>;
	status = "okay";
	pinctrl-names = "default";
	pinctrl-0 = <&i2c1_pins>;

	hc32fx_mcu:hc32fx_mcu@0x4c {
		compatible = "hc32fx-mcu";
		reg = <0x4c>;
		interrupt-parent = <&gpio1>;
		interrupts = <7 IRQ_TYPE_LEVEL_LOW>;
		pinctrl-names = "default";
		pinctrl-0 = <&hc32fx_int_pins>;
		clock-frequency = <100000>;
	};

	usbc1: husb311_1@4e {
		compatible = "hynetek,husb311";
		reg = <0x4e>;
		// interrupt-parent = <&gpio1>;
		// interrupts = <5 IRQ_TYPE_LEVEL_LOW>;
		int_gpio  = <&gpio1 5 GPIO_ACTIVE_LOW>;
                switch-gpios = <&gpio1 3 GPIO_ACTIVE_HIGH>;
		pinctrl-names = "default";
		pinctrl-0 = <&usbc1_int_pins &switch1_pins>;
                vbus-supply = <&reg_typec1_host>;
		status = "okay";

		usb_con1: connector {
			compatible = "usb-c-connector";
			label = "USB-C";
			data-role = "dual";
			power-role = "dual";
			try-power-role = "sink";
			source-pdos = <PDO_FIXED(5000, 2000, PDO_FIXED_USB_COMM)>;
			sink-pdos =
				<PDO_FIXED(5000, 3000, PDO_FIXED_USB_COMM)
				PDO_FIXED(9000, 3000, PDO_FIXED_USB_COMM)
				PDO_FIXED(12000, 3000, PDO_FIXED_USB_COMM)>;
			op-sink-microwatt = <10000000>;
		};
	};
};

&i2c2 {
    clock-frequency = <400000>;
	status = "okay";
	pinctrl-names = "default";
	pinctrl-0 = <&i2c2_pins>;

	hidkey: hidkey@15 {
		status = "okay";
		clock-frequency = <100000>;
		compatible = "hid-over-i2c";
		interrupt-parent = <&aogpio>;
		interrupts = <3 0>;
		pinctrl-names = "default";
		pinctrl-0 = <&hidkey_irq_pins>;
		reg = <0x15>;
		hid-descr-addr = <0x20>;
		hid-support-wakeup;
		wakeup-source;
	};
};

&i2c3 {
    clock-frequency = <400000>;
	status = "disabled";
	pinctrl-names = "default";
	pinctrl-0 = <&i2c3_pins>;
};

&i2c4 {
    clock-frequency = <400000>;
	status = "okay";
	pinctrl-names = "default";
	pinctrl-0 = <&i2c4_pins>;

	touchpad: touchpad@2c {
		status = "okay";
		compatible = "hid-over-i2c";
		interrupt-parent = <&aogpio>;
		interrupts = <4 0>;
		pinctrl-names = "default";
		pinctrl-0 = <&touchpad_irq_pins>;
		reg = <0x2c>;
		hid-descr-addr = <0x20>;
		wakeup-source;
	};
};

&isp0 {
	status = "okay";
};

&isp1 {
	status = "okay";
};

&isp_ry0 {
	status = "okay";
};

&dewarp {
	status = "okay";
};

&dec400_isp0 {
	status = "okay";
};

&dec400_isp1 {
	status = "okay";
};

&dec400_isp2 {
	status = "okay";
};

&bm_visys {
	status = "okay";
};

&bm_csi0 {
	status = "okay";
};

&bm_csi1 {
	status = "okay";
};

&bm_csi2 {
	status = "okay";
};

&vi_pre {
	//vi_pre_irq_en = <1>;
	status = "okay";
};

&xtensa_dsp {
	status = "okay";
};

&xtensa_dsp0 {
	status = "okay";
    memory-region = <&dsp0_mem>;
};

&xtensa_dsp1 {
	status = "okay";
    memory-region = <&dsp1_mem>;
};

&eip_28 {
	status = "okay";
};

&vdec {
	status = "okay";
};

&venc {
	status = "okay";
};

&vidmem {
	status = "okay";
    memory-region = <&vi_mem>;
};

&gpu {
	status = "okay";
};

&npu {
	vha_clk_rate = <1000000000>;
	status = "okay";
};

&dpu_enc0 {
	status = "okay";

	ports {
		/* output */
		port@1 {
			reg = <1>;

			enc0_out: endpoint {
				remote-endpoint = <&dsi0_in>;
			};
		};
	};
};

&dpu_enc1 {
        ports {
                /delete-node/ port@0;
        };
};

&dpu {
        status = "okay";
};

&dsi0 {
        status = "okay";
};

&dhost_0 {
	ports {
		#address-cells = <1>;
		#size-cells = <0>;

		port@0 {
			reg = <0>;

			dsi0_in: endpoint {
				remote-endpoint = <&enc0_out>;
			};
		};

		port@1 {
			reg = <1>;

			dsi0_out: endpoint {
				remote-endpoint = <&panel0_in>;
			};
		};
	};
};

&disp1_out {
	remote-endpoint = <&hdmi_tx_in>;
};

&hdmi_tx {
	status = "okay";
	pinctrl-names = "default";
	pinctrl-0 = <&hdmi_pins>;

	port@0 {
		/* input */
		hdmi_tx_in: endpoint {
			remote-endpoint = <&disp1_out>;
		};
	};
};

&ap_i2s {
        status = "okay";
};

&i2s0 {
        status = "okay";
};

&i2s1 {
        status = "okay";
        pinctrl-names = "default";
        pinctrl-0 = <&i2s1_pa_pins>,
                    <&i2s1_pins>;
        light,mclk_keepon = <1>;
};

&i2s2 {
        status = "okay";
        pinctrl-names = "default";
        pinctrl-0 = <&i2s2_pa_pins>,
                    <&i2s2_pins>;
};

&usb {
	pinctrl-names = "default";
	pinctrl-0 = <&usbhub_en_pins &usb_host_en_pins &usb_sw_pins>;
	hubswitch-gpio = <&gpio1 11 GPIO_ACTIVE_LOW>;
	vbus-supply = <&reg_vbus>;
	hub5v-supply = <&reg_usb_hub_vcc5v>;
};

&cpus {
	c910_0: cpu@0 {
		operating-points = <
			/* kHz    uV */
			300000	600000
			400000  700000
			500000  700000
			600000  700000
			702000  700000
			800000	700000
			900000	800000
			1000000	800000
			1104000	800000
			1200000	800000
			1296000 800000
			1404000 800000
			1500000	800000
			1608000 1000000
			1704000	1000000
			1848000 1000000
		>;
		light,dvddm-operating-points = <
			/* kHz   uV */
			300000	800000
			400000  800000
			500000  800000
			600000  800000
			702000  800000
			800000	800000
			900000	800000
			1000000	800000
			1104000	800000
			1200000	800000
			1296000 800000
			1404000 800000
			1500000	800000
			1608000 1000000
			1704000	1000000
			1848000 1000000
		>;
	};
	c910_1: cpu@1 {
		operating-points = <
			/* kHz    uV */
			300000	600000
			400000  700000
			500000  700000
			600000  700000
			702000  700000
			800000	700000
			900000	800000
			1000000	800000
			1104000	800000
			1200000	800000
			1296000 800000
			1404000 800000
			1500000	800000
			1608000 1000000
			1704000	1000000
			1848000 1000000
		>;
		light,dvddm-operating-points = <
			/* kHz   uV */
			300000	800000
			400000  800000
			500000  800000
			600000  800000
			702000  800000
			800000	800000
			900000	800000
			1000000	800000
			1104000	800000
			1200000	800000
			1296000 800000
			1404000 800000
			1500000	800000
			1608000 1000000
			1704000	1000000
			1848000 1000000
		>;
	};
	c910_2: cpu@2 {

		operating-points = <
			/* kHz    uV */
			300000	600000
			400000  700000
			500000  700000
			600000  700000
			702000  700000
			800000	700000
			900000	800000
			1000000	800000
			1104000	800000
			1200000	800000
			1296000 800000
			1404000 800000
			1500000	800000
			1608000 1000000
			1704000	1000000
			1848000 1000000
		>;
		light,dvddm-operating-points = <
			/* kHz   uV */
			300000	800000
			400000  800000
			500000  800000
			600000  800000
			702000  800000
			800000	800000
			900000	800000
			1000000	800000
			1104000	800000
			1200000	800000
			1296000 800000
			1404000 800000
			1500000	800000
			1608000 1000000
			1704000	1000000
			1848000 1000000
		>;
	};
	c910_3: cpu@3 {

		operating-points = <
			/* kHz    uV */
			300000	600000
			400000  700000
			500000  700000
			600000  700000
			702000  700000
			800000	700000
			900000	800000
			1000000	800000
			1104000	800000
			1200000	800000
			1296000 800000
			1404000 800000
			1500000	800000
			1608000 1000000
			1704000	1000000
			1848000 1000000
		>;
		light,dvddm-operating-points = <
			/* kHz   uV */
			300000	800000
			400000  800000
			500000  800000
			600000  800000
			702000  800000
			800000	800000
			900000	800000
			1000000	800000
			1104000	800000
			1200000	800000
			1296000 800000
			1404000 800000
			1500000	800000
			1608000 1000000
			1704000	1000000
			1848000 1000000
		>;
	};
};
